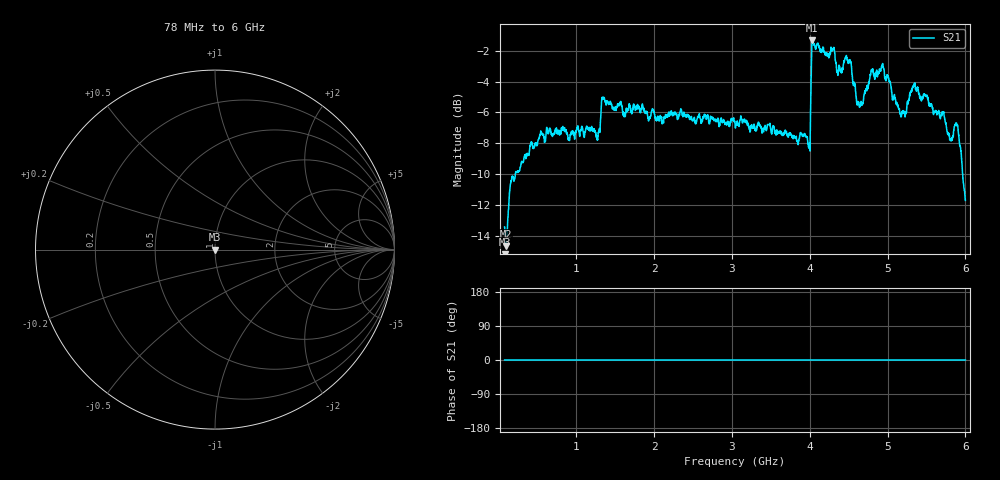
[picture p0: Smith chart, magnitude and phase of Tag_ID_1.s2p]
!	Parâmetros S - Tag_ID_1
#	Hz	S	MA	R	50
!	Freq	magS11	angS11	magS21	angS21	magS12	angS12	magS22	angS22
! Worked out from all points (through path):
!   5923 points, 78 MHz to 6 GHz, reference 50 ohm
!   highest |S21| = -1.34 dB at 4.028 GHz (marker M1); lowest = -14.7 dB at 100 MHz (marker M2)
!   lowest |S11| = - dB at 78 MHz (marker M3), VSWR 1.00, Z = 50 + j0 ohm
!   |S11| at or under -10 dB: start of sweep to end of sweep
!   S12 and S22 are empty: the file has one direction only
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7.8e7  0 0.0  0.2135 0.0  0 0.0  0 0.0
1e8  0 0.0  0.185 0.0  0 0.0  0 0.0
1.67e8  0 0.0  0.3026 0.0  0 0.0  0 0.0
4.24e8  0 0.0  0.3997 0.0  0 0.0  0 0.0
1.065e9  0 0.0  0.4453 0.0  0 0.0  0 0.0
1.278e9  0 0.0  0.4212 0.0  0 0.0  0 0.0
1.351e9  0 0.0  0.5593 0.0  0 0.0  0 0.0
2.052e9  0 0.0  0.4767 0.0  0 0.0  0 0.0
3.039e9  0 0.0  0.4655 0.0  0 0.0  0 0.0
3.976e9  0 0.0  0.3968 0.0  0 0.0  0 0.0
4.026e9  0 0.0  0.83 0.0  0 0.0  0 0.0
4.028e9  0 0.0  0.8575 0.0  0 0.0  0 0.0
4.055e9  0 0.0  0.8381 0.0  0 0.0  0 0.0
4.295e9  0 0.0  0.7998 0.0  0 0.0  0 0.0
4.509e9  0 0.0  0.7285 0.0  0 0.0  0 0.0
4.629e9  0 0.0  0.5415 0.0  0 0.0  0 0.0
4.8e9  0 0.0  0.6849 0.0  0 0.0  0 0.0
5.013e9  0 0.0  0.6477 0.0  0 0.0  0 0.0
5.18e9  0 0.0  0.4951 0.0  0 0.0  0 0.0
5.338e9  0 0.0  0.6203 0.0  0 0.0  0 0.0
5.885e9  0 0.0  0.4635 0.0  0 0.0  0 0.0
6e9  0 0.0  0.2602 0.0  0 0.0  0 0.0
